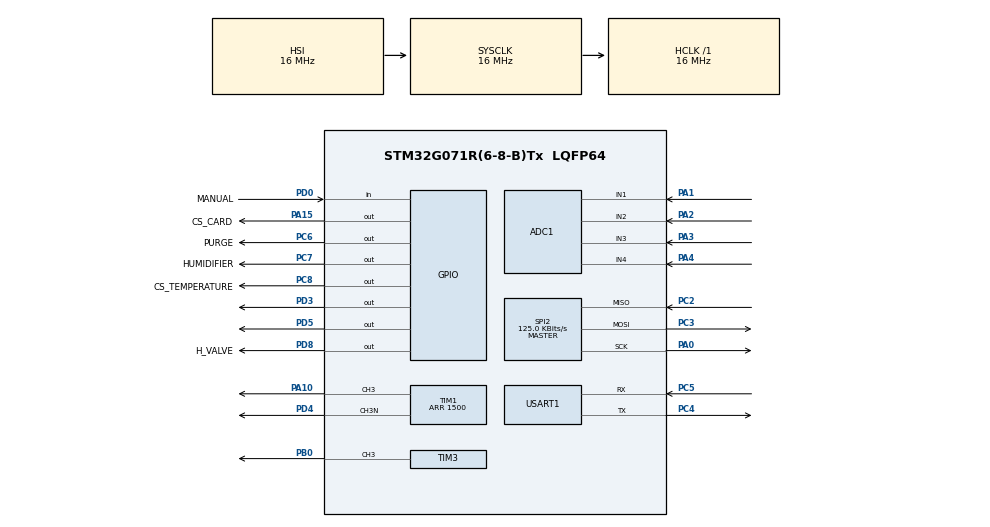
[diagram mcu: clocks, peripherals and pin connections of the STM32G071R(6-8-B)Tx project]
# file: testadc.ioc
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ADC1.Channel-2\#ChannelRegularConversion=ADC_CHANNEL_1
ADC1.Channel-3\#ChannelRegularConversion=ADC_CHANNEL_2
ADC1.Channel-4\#ChannelRegularConversion=ADC_CHANNEL_3
ADC1.Channel-5\#ChannelRegularConversion=ADC_CHANNEL_4
ADC1.NbrOfConversion=4
ADC1.NbrOfConversionFlag=1
ADC1.Rank-2\#ChannelRegularConversion=1
ADC1.Rank-3\#ChannelRegularConversion=2
ADC1.Rank-4\#ChannelRegularConversion=3
ADC1.Rank-5\#ChannelRegularConversion=4
ADC1.SamplingTime-2\#ChannelRegularConversion=ADC_SAMPLINGTIME_COMMON_1
ADC1.SamplingTime-3\#ChannelRegularConversion=ADC_SAMPLINGTIME_COMMON_1
ADC1.SamplingTime-4\#ChannelRegularConversion=ADC_SAMPLINGTIME_COMMON_1
ADC1.SamplingTime-5\#ChannelRegularConversion=ADC_SAMPLINGTIME_COMMON_1
ADC1.SamplingTimeCommon1=ADC_SAMPLETIME_160CYCLES_5
ADC1.SelectedChannel=ADC_CHANNEL_1|ADC_CHANNEL_2|ADC_CHANNEL_3|ADC_CHANNEL_4
ADC1.master=1
Mcu.Family=STM32G0
Mcu.Name=STM32G071R(6-8-B)Tx
Mcu.Package=LQFP64
PA0.Mode=Full_Duplex_Master
PA0.Signal=SPI2_SCK
PA1.Mode=IN1
PA1.Signal=ADC1_IN1
PA10.Signal=S_TIM1_CH3
PA15.GPIO_Label=CS_CARD
PA15.Signal=GPIO_Output
PA2.Mode=IN2
PA2.Signal=ADC1_IN2
PA3.Mode=IN3
PA3.Signal=ADC1_IN3
PA4.Mode=IN4
PA4.Signal=ADC1_IN4
PB0.Signal=S_TIM3_CH3
PC2.Mode=Full_Duplex_Master
PC2.Signal=SPI2_MISO
PC3.Mode=Full_Duplex_Master
PC3.Signal=SPI2_MOSI
PC4.Mode=Asynchronous
PC4.Signal=USART1_TX
PC5.Mode=Asynchronous
PC5.Signal=USART1_RX
PC6.GPIO_Label=PURGE
PC6.Signal=GPIO_Output
PC7.GPIO_Label=HUMIDIFIER
PC7.Signal=GPIO_Output
PC8.GPIO_Label=CS_TEMPERATURE
PC8.Signal=GPIO_Output
PD0.GPIO_Label=MANUAL
PD0.GPIO_PuPd=GPIO_PULLDOWN
PD0.Signal=GPIO_Input
PD3.Signal=GPIO_Output
PD4.Mode=PWM Generation3 CH3 CH3N
PD4.Signal=TIM1_CH3N
PD5.Signal=GPIO_Output
PD8.GPIO_Label=H_VALVE
PD8.Signal=GPIO_Output
ProjectManager.HeapSize=0x200
ProjectManager.StackSize=0x400
ProjectManager.TargetToolchain=STM32CubeIDE
RCC.AHBFreq_Value=16000000
RCC.CortexFreq_Value=16000000
RCC.EXTERNAL_CLOCK_VALUE=48000
RCC.HCLKFreq_Value=16000000
RCC.HSE_VALUE=8000000
RCC.HSI_VALUE=16000000
RCC.LSE_VALUE=32768
RCC.PLLQ=RCC_PLLQ_DIV4
RCC.SYSCLKFreq_VALUE=16000000
RCC.VCOOutputFreq_Value=128000000
SH.S_TIM1_CH3.0=TIM1_CH3,PWM Generation3 CH3 CH3N
SH.S_TIM3_CH3.0=TIM3_CH3,PWM Generation3 CH3
SPI2.BaudRatePrescaler=SPI_BAUDRATEPRESCALER_128
SPI2.CLKPhase=SPI_PHASE_2EDGE
SPI2.CalculateBaudRate=125.0 KBits/s
SPI2.DataSize=SPI_DATASIZE_8BIT
SPI2.Direction=SPI_DIRECTION_2LINES
SPI2.Mode=SPI_MODE_MASTER
SPI2.VirtualType=VM_MASTER
TIM1.AutomaticOutput=TIM_AUTOMATICOUTPUT_ENABLE
TIM1.Channel-PWM\ Generation3\ CH3\ CH3N=TIM_CHANNEL_3
TIM1.Period=1500
TIM3.Channel-PWM\ Generation3\ CH3=TIM_CHANNEL_3
TIM3.Period=1500
USART1.VirtualMode-Asynchronous=VM_ASYNC
board=custom

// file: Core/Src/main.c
/* USER CODE BEGIN Header */
/**
  ******************************************************************************
  * @file           : main.c
  * @brief          : Main program body
  ******************************************************************************
  * @attention
  *
  * Copyright (c) 2025 STMicroelectronics.
  * All rights reserved.
  *
  * This software is licensed under terms that can be found in the LICENSE file
  * in the root directory of this software component.
  * If no LICENSE file comes with this software, it is provided AS-IS.
  *
  ******************************************************************************
  */
/* USER CODE END Header */
#include "main.h"

/* USER CODE BEGIN Includes */
#include "measurments.h"
#include "Parameterscheck.h"
#include "Control.h"
#include "MAX31865.h"
/* USER CODE END Includes */

ADC_HandleTypeDef hadc1;

SPI_HandleTypeDef hspi2;

TIM_HandleTypeDef htim1;
TIM_HandleTypeDef htim3;

UART_HandleTypeDef huart1;

/* USER CODE BEGIN PV */

float voltage, voltage1, voltage2, voltage3, prad, CellVoltagee, t;
bool        pt100isOK;
float       pt100Temp;
Max31865_t  pt100;
/* USER CODE END PV */

void SystemClock_Config(void);
static void MX_GPIO_Init(void);
static void MX_ADC1_Init(void);
static void MX_USART1_UART_Init(void);
static void MX_TIM3_Init(void);
static void MX_SPI2_Init(void);
static void MX_TIM1_Init(void);

int main(void)
{

  /* MCU Configuration--------------------------------------------------------*/

  /* Reset of all peripherals, Initializes the Flash interface and the Systick. */
  HAL_Init();

  /* Configure the system clock */
  SystemClock_Config();

  /* Initialize all configured peripherals */
  MX_GPIO_Init();
  MX_ADC1_Init();
  MX_USART1_UART_Init();
  MX_TIM3_Init();
  MX_SPI2_Init();
  MX_TIM1_Init();
  /* USER CODE BEGIN 2 */
  HAL_ADCEx_Calibration_Start(&hadc1);
  Max31865_init(&pt100, &hspi2, GPIOC, GPIO_PIN_8, 2, 50);
  HAL_TIM_PWM_Start(&htim3, TIM_CHANNEL_3);
  HAL_TIM_PWM_Start(&htim1, TIM_CHANNEL_3);
  HAL_TIMEx_PWMN_Start(&htim1, TIM_CHANNEL_3);

  //__HAL_TIM_MOE_ENABLE(&htim1);

  ControlsystemInit();

  /* USER CODE END 2 */

  /* Infinite loop */
  /* USER CODE BEGIN WHILE */
  while (1)
  {
	  HAL_GPIO_WritePin(HUMIDIFIER_GPIO_Port, HUMIDIFIER_Pin, GPIO_PIN_SET);
	  Controlsystem();
	  voltage1=((adc_vals[1] / 4095.0f) * 3.3f*9.41f);
	  CellVoltagee = Convert_ADC_to_CapacitorVoltage(adc_vals[3]);
	  prad = Convert_ADC_to_CellCurrent(adc_vals[2]);

	  pt100isOK = Max31865_readTempC(&pt100,&t);
	  pt100Temp = Max31865_Filter(t,pt100Temp,0.1);
    /* USER CODE END WHILE */

  }
}

void SystemClock_Config(void)
{
  RCC_OscInitTypeDef RCC_OscInitStruct = {0};
  RCC_ClkInitTypeDef RCC_ClkInitStruct = {0};

  /** Configure the main internal regulator output voltage
  */
  HAL_PWREx_ControlVoltageScaling(PWR_REGULATOR_VOLTAGE_SCALE1);

  /** Initializes the RCC Oscillators according to the specified parameters
  * in the RCC_OscInitTypeDef structure.
  */
  RCC_OscInitStruct.OscillatorType = RCC_OSCILLATORTYPE_HSI;
  RCC_OscInitStruct.HSIState = RCC_HSI_ON;
  RCC_OscInitStruct.HSIDiv = RCC_HSI_DIV1;
  RCC_OscInitStruct.HSICalibrationValue = RCC_HSICALIBRATION_DEFAULT;
  RCC_OscInitStruct.PLL.PLLState = RCC_PLL_NONE;
  if (HAL_RCC_OscConfig(&RCC_OscInitStruct) != HAL_OK)
  {
    Error_Handler();
  }

  /** Initializes the CPU, AHB and APB buses clocks
  */
  RCC_ClkInitStruct.ClockType = RCC_CLOCKTYPE_HCLK|RCC_CLOCKTYPE_SYSCLK
                              |RCC_CLOCKTYPE_PCLK1;
  RCC_ClkInitStruct.SYSCLKSource = RCC_SYSCLKSOURCE_HSI;
  RCC_ClkInitStruct.AHBCLKDivider = RCC_SYSCLK_DIV1;
  RCC_ClkInitStruct.APB1CLKDivider = RCC_HCLK_DIV1;

  if (HAL_RCC_ClockConfig(&RCC_ClkInitStruct, FLASH_LATENCY_0) != HAL_OK)
  {
    Error_Handler();
  }
}

static void MX_ADC1_Init(void)
{

  ADC_ChannelConfTypeDef sConfig = {0};

  /** Configure the global features of the ADC (Clock, Resolution, Data Alignment and number of conversion)
  */
  hadc1.Instance = ADC1;
  hadc1.Init.ClockPrescaler = ADC_CLOCK_SYNC_PCLK_DIV2;
  hadc1.Init.Resolution = ADC_RESOLUTION_12B;
  hadc1.Init.DataAlign = ADC_DATAALIGN_RIGHT;
  hadc1.Init.ScanConvMode = ADC_SCAN_ENABLE;
  hadc1.Init.EOCSelection = ADC_EOC_SINGLE_CONV;
  hadc1.Init.LowPowerAutoWait = DISABLE;
  hadc1.Init.LowPowerAutoPowerOff = DISABLE;
  hadc1.Init.ContinuousConvMode = DISABLE;
  hadc1.Init.NbrOfConversion = 4;
  hadc1.Init.DiscontinuousConvMode = DISABLE;
  hadc1.Init.ExternalTrigConv = ADC_SOFTWARE_START;
  hadc1.Init.ExternalTrigConvEdge = ADC_EXTERNALTRIGCONVEDGE_NONE;
  hadc1.Init.DMAContinuousRequests = DISABLE;
  hadc1.Init.Overrun = ADC_OVR_DATA_PRESERVED;
  hadc1.Init.SamplingTimeCommon1 = ADC_SAMPLETIME_160CYCLES_5;
  hadc1.Init.SamplingTimeCommon2 = ADC_SAMPLETIME_1CYCLE_5;
  hadc1.Init.OversamplingMode = DISABLE;
  hadc1.Init.TriggerFrequencyMode = ADC_TRIGGER_FREQ_HIGH;
  if (HAL_ADC_Init(&hadc1) != HAL_OK)
  {
    Error_Handler();
  }

  /** Configure Regular Channel
  */
  sConfig.Channel = ADC_CHANNEL_1;
  sConfig.Rank = ADC_REGULAR_RANK_1;
  sConfig.SamplingTime = ADC_SAMPLINGTIME_COMMON_1;
  if (HAL_ADC_ConfigChannel(&hadc1, &sConfig) != HAL_OK)
  {
    Error_Handler();
  }

  /** Configure Regular Channel
  */
  sConfig.Channel = ADC_CHANNEL_2;
  sConfig.Rank = ADC_REGULAR_RANK_2;
  if (HAL_ADC_ConfigChannel(&hadc1, &sConfig) != HAL_OK)
  {
    Error_Handler();
  }

  /** Configure Regular Channel
  */
  sConfig.Channel = ADC_CHANNEL_3;
  sConfig.Rank = ADC_REGULAR_RANK_3;
  if (HAL_ADC_ConfigChannel(&hadc1, &sConfig) != HAL_OK)
  {
    Error_Handler();
  }

  /** Configure Regular Channel
  */
  sConfig.Channel = ADC_CHANNEL_4;
  sConfig.Rank = ADC_REGULAR_RANK_4;
  if (HAL_ADC_ConfigChannel(&hadc1, &sConfig) != HAL_OK)
  {
    Error_Handler();
  }

}

static void MX_SPI2_Init(void)
{

  /* SPI2 parameter configuration*/
  hspi2.Instance = SPI2;
  hspi2.Init.Mode = SPI_MODE_MASTER;
  hspi2.Init.Direction = SPI_DIRECTION_2LINES;
  hspi2.Init.DataSize = SPI_DATASIZE_8BIT;
  hspi2.Init.CLKPolarity = SPI_POLARITY_LOW;
  hspi2.Init.CLKPhase = SPI_PHASE_2EDGE;
  hspi2.Init.NSS = SPI_NSS_SOFT;
  hspi2.Init.BaudRatePrescaler = SPI_BAUDRATEPRESCALER_128;
  hspi2.Init.FirstBit = SPI_FIRSTBIT_MSB;
  hspi2.Init.TIMode = SPI_TIMODE_DISABLE;
  hspi2.Init.CRCCalculation = SPI_CRCCALCULATION_DISABLE;
  hspi2.Init.CRCPolynomial = 7;
  hspi2.Init.CRCLength = SPI_CRC_LENGTH_DATASIZE;
  hspi2.Init.NSSPMode = SPI_NSS_PULSE_DISABLE;
  if (HAL_SPI_Init(&hspi2) != HAL_OK)
  {
    Error_Handler();
  }

}

static void MX_TIM1_Init(void)
{

  TIM_MasterConfigTypeDef sMasterConfig = {0};
  TIM_OC_InitTypeDef sConfigOC = {0};
  TIM_BreakDeadTimeConfigTypeDef sBreakDeadTimeConfig = {0};

  htim1.Instance = TIM1;
  htim1.Init.Prescaler = 0;
  htim1.Init.CounterMode = TIM_COUNTERMODE_UP;
  htim1.Init.Period = 1500;
  htim1.Init.ClockDivision = TIM_CLOCKDIVISION_DIV1;
  htim1.Init.RepetitionCounter = 0;
  htim1.Init.AutoReloadPreload = TIM_AUTORELOAD_PRELOAD_DISABLE;
  if (HAL_TIM_PWM_Init(&htim1) != HAL_OK)
  {
    Error_Handler();
  }
  sMasterConfig.MasterOutputTrigger = TIM_TRGO_RESET;
  sMasterConfig.MasterOutputTrigger2 = TIM_TRGO2_RESET;
  sMasterConfig.MasterSlaveMode = TIM_MASTERSLAVEMODE_DISABLE;
  if (HAL_TIMEx_MasterConfigSynchronization(&htim1, &sMasterConfig) != HAL_OK)
  {
    Error_Handler();
  }
  sConfigOC.OCMode = TIM_OCMODE_PWM1;
  sConfigOC.Pulse = 0;
  sConfigOC.OCPolarity = TIM_OCPOLARITY_HIGH;
  sConfigOC.OCNPolarity = TIM_OCNPOLARITY_HIGH;
  sConfigOC.OCFastMode = TIM_OCFAST_DISABLE;
  sConfigOC.OCIdleState = TIM_OCIDLESTATE_RESET;
  sConfigOC.OCNIdleState = TIM_OCNIDLESTATE_RESET;
  if (HAL_TIM_PWM_ConfigChannel(&htim1, &sConfigOC, TIM_CHANNEL_3) != HAL_OK)
  {
    Error_Handler();
  }
  sBreakDeadTimeConfig.OffStateRunMode = TIM_OSSR_DISABLE;
  sBreakDeadTimeConfig.OffStateIDLEMode = TIM_OSSI_DISABLE;
  sBreakDeadTimeConfig.LockLevel = TIM_LOCKLEVEL_OFF;
  sBreakDeadTimeConfig.DeadTime = 0;
  sBreakDeadTimeConfig.BreakState = TIM_BREAK_DISABLE;
  sBreakDeadTimeConfig.BreakPolarity = TIM_BREAKPOLARITY_HIGH;
  sBreakDeadTimeConfig.BreakFilter = 0;
  sBreakDeadTimeConfig.BreakAFMode = TIM_BREAK_AFMODE_INPUT;
  sBreakDeadTimeConfig.Break2State = TIM_BREAK2_DISABLE;
  sBreakDeadTimeConfig.Break2Polarity = TIM_BREAK2POLARITY_HIGH;
  sBreakDeadTimeConfig.Break2Filter = 0;
  sBreakDeadTimeConfig.Break2AFMode = TIM_BREAK_AFMODE_INPUT;
  sBreakDeadTimeConfig.AutomaticOutput = TIM_AUTOMATICOUTPUT_ENABLE;
  if (HAL_TIMEx_ConfigBreakDeadTime(&htim1, &sBreakDeadTimeConfig) != HAL_OK)
  {
    Error_Handler();
  }
  HAL_TIM_MspPostInit(&htim1);

}

static void MX_TIM3_Init(void)
{

  TIM_MasterConfigTypeDef sMasterConfig = {0};
  TIM_OC_InitTypeDef sConfigOC = {0};

  htim3.Instance = TIM3;
  htim3.Init.Prescaler = 0;
  htim3.Init.CounterMode = TIM_COUNTERMODE_UP;
  htim3.Init.Period = 1500;
  htim3.Init.ClockDivision = TIM_CLOCKDIVISION_DIV1;
  htim3.Init.AutoReloadPreload = TIM_AUTORELOAD_PRELOAD_DISABLE;
  if (HAL_TIM_PWM_Init(&htim3) != HAL_OK)
  {
    Error_Handler();
  }
  sMasterConfig.MasterOutputTrigger = TIM_TRGO_RESET;
  sMasterConfig.MasterSlaveMode = TIM_MASTERSLAVEMODE_DISABLE;
  if (HAL_TIMEx_MasterConfigSynchronization(&htim3, &sMasterConfig) != HAL_OK)
  {
    Error_Handler();
  }
  sConfigOC.OCMode = TIM_OCMODE_PWM1;
  sConfigOC.Pulse = 0;
  sConfigOC.OCPolarity = TIM_OCPOLARITY_HIGH;
  sConfigOC.OCFastMode = TIM_OCFAST_DISABLE;
  if (HAL_TIM_PWM_ConfigChannel(&htim3, &sConfigOC, TIM_CHANNEL_3) != HAL_OK)
  {
    Error_Handler();
  }
  HAL_TIM_MspPostInit(&htim3);

}

static void MX_USART1_UART_Init(void)
{

  huart1.Instance = USART1;
  huart1.Init.BaudRate = 115200;
  huart1.Init.WordLength = UART_WORDLENGTH_8B;
  huart1.Init.StopBits = UART_STOPBITS_1;
  huart1.Init.Parity = UART_PARITY_NONE;
  huart1.Init.Mode = UART_MODE_TX_RX;
  huart1.Init.HwFlowCtl = UART_HWCONTROL_NONE;
  huart1.Init.OverSampling = UART_OVERSAMPLING_16;
  huart1.Init.OneBitSampling = UART_ONE_BIT_SAMPLE_DISABLE;
  huart1.Init.ClockPrescaler = UART_PRESCALER_DIV1;
  huart1.AdvancedInit.AdvFeatureInit = UART_ADVFEATURE_NO_INIT;
  if (HAL_UART_Init(&huart1) != HAL_OK)
  {
    Error_Handler();
  }
  if (HAL_UARTEx_SetTxFifoThreshold(&huart1, UART_TXFIFO_THRESHOLD_1_8) != HAL_OK)
  {
    Error_Handler();
  }
  if (HAL_UARTEx_SetRxFifoThreshold(&huart1, UART_RXFIFO_THRESHOLD_1_8) != HAL_OK)
  {
    Error_Handler();
  }
  if (HAL_UARTEx_DisableFifoMode(&huart1) != HAL_OK)
  {
    Error_Handler();
  }

}

static void MX_GPIO_Init(void)
{
  GPIO_InitTypeDef GPIO_InitStruct = {0};

  /* GPIO Ports Clock Enable */
  __HAL_RCC_GPIOC_CLK_ENABLE();
  __HAL_RCC_GPIOA_CLK_ENABLE();
  __HAL_RCC_GPIOB_CLK_ENABLE();
  __HAL_RCC_GPIOD_CLK_ENABLE();

  /*Configure GPIO pin Output Level */
  HAL_GPIO_WritePin(GPIOC, PURGE_Pin|HUMIDIFIER_Pin|CS_TEMPERATURE_Pin, GPIO_PIN_RESET);

  /*Configure GPIO pin Output Level */
  HAL_GPIO_WritePin(GPIOD, H_VALVE_Pin|GPIO_PIN_3|GPIO_PIN_5, GPIO_PIN_RESET);

  /*Configure GPIO pin Output Level */
  HAL_GPIO_WritePin(CS_CARD_GPIO_Port, CS_CARD_Pin, GPIO_PIN_RESET);

  /*Configure GPIO pins : PURGE_Pin HUMIDIFIER_Pin CS_TEMPERATURE_Pin */
  GPIO_InitStruct.Pin = PURGE_Pin|HUMIDIFIER_Pin|CS_TEMPERATURE_Pin;
  GPIO_InitStruct.Mode = GPIO_MODE_OUTPUT_PP;
  GPIO_InitStruct.Pull = GPIO_NOPULL;
  GPIO_InitStruct.Speed = GPIO_SPEED_FREQ_LOW;
  HAL_GPIO_Init(GPIOC, &GPIO_InitStruct);

  /*Configure GPIO pins : H_VALVE_Pin PD3 PD5 */
  GPIO_InitStruct.Pin = H_VALVE_Pin|GPIO_PIN_3|GPIO_PIN_5;
  GPIO_InitStruct.Mode = GPIO_MODE_OUTPUT_PP;
  GPIO_InitStruct.Pull = GPIO_NOPULL;
  GPIO_InitStruct.Speed = GPIO_SPEED_FREQ_LOW;
  HAL_GPIO_Init(GPIOD, &GPIO_InitStruct);

  /*Configure GPIO pin : CS_CARD_Pin */
  GPIO_InitStruct.Pin = CS_CARD_Pin;
  GPIO_InitStruct.Mode = GPIO_MODE_OUTPUT_PP;
  GPIO_InitStruct.Pull = GPIO_NOPULL;
  GPIO_InitStruct.Speed = GPIO_SPEED_FREQ_LOW;
  HAL_GPIO_Init(CS_CARD_GPIO_Port, &GPIO_InitStruct);

  /*Configure GPIO pin : MANUAL_Pin */
  GPIO_InitStruct.Pin = MANUAL_Pin;
  GPIO_InitStruct.Mode = GPIO_MODE_INPUT;
  GPIO_InitStruct.Pull = GPIO_PULLDOWN;
  HAL_GPIO_Init(MANUAL_GPIO_Port, &GPIO_InitStruct);

}

void Error_Handler(void)
{
  __disable_irq();
  while (1)
  {
  }
}
